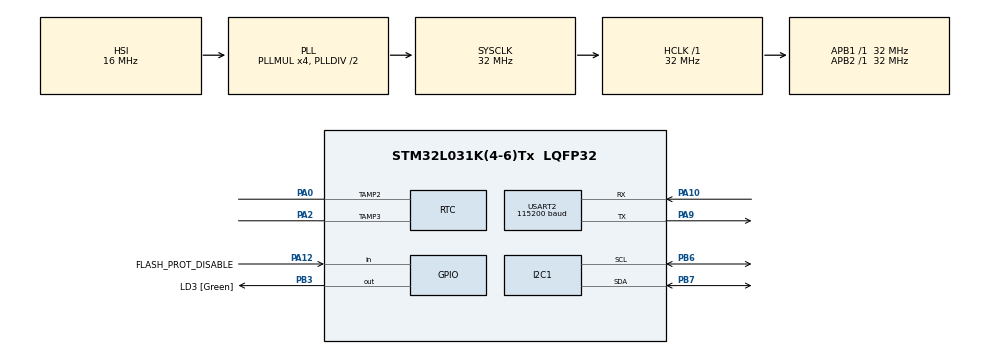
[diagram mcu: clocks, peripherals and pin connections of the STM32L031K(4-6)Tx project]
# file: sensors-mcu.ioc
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I2C1.Timing=0x00707CBB
Mcu.Family=STM32L0
Mcu.Name=STM32L031K(4-6)Tx
Mcu.Package=LQFP32
NVIC.RTC_IRQn=true\:3\:0\:true\:false\:true\:true\:true\:true
PA0-CK_IN.Mode=Tamper 2 enabled
PA0-CK_IN.Signal=RTC_TAMP2
PA10.Mode=Asynchronous
PA10.Signal=USART2_RX
PA12.GPIO_Label=FLASH_PROT_DISABLE
PA12.GPIO_PuPd=GPIO_PULLUP
PA12.Signal=GPIO_Input
PA2.Mode=Tamper 3 enabled
PA2.Signal=RTC_TAMP3
PA9.Mode=Asynchronous
PA9.Signal=USART2_TX
PB3.GPIO_Label=LD3 [Green]
PB3.Signal=GPIO_Output
PB6.Mode=I2C
PB6.Signal=I2C1_SCL
PB7.Mode=I2C
PB7.Signal=I2C1_SDA
ProjectManager.HeapSize=0x200
ProjectManager.StackSize=0x400
ProjectManager.TargetToolchain=CMake
RCC.AHBFreq_Value=32000000
RCC.APB1Freq_Value=32000000
RCC.APB1TimFreq_Value=32000000
RCC.APB2Freq_Value=32000000
RCC.APB2TimFreq_Value=32000000
RCC.HCLKFreq_Value=32000000
RCC.HSE_VALUE=8000000
RCC.HSI16_VALUE=16000000
RCC.HSI48_VALUE=48000000
RCC.HSI_VALUE=16000000
RCC.LSE_VALUE=32768
RCC.MSI_VALUE=2097000
RCC.PLLMUL=RCC_PLLMUL_4
RCC.SYSCLKFreq_VALUE=32000000
RCC.SYSCLKSource=RCC_SYSCLKSOURCE_PLLCLK
RCC.VCOOutputFreq_Value=64000000
RTC.Filter=RTC_TAMPERFILTER_DISABLE
RTC.PrechargeDuration=RTC_TAMPERPRECHARGEDURATION_1RTCCLK
RTC.SamplingFrequency=RTC_TAMPERSAMPLINGFREQ_RTCCLK_DIV2048
RTC.TamperPullUp=RTC_TAMPER_PULLUP_ENABLE
RTC.Trigger_3=RTC_TAMPERTRIGGER_FALLINGEDGE
USART2.AutoBaudRateEnableParam=UART_ADVFEATURE_AUTOBAUDRATE_DISABLE
USART2.BaudRate=115200
USART2.VirtualMode-Asynchronous=VM_ASYNC
VP_RTC_VS_RTC_Activate.Mode=RTC_Enabled
VP_RTC_VS_RTC_WakeUp_intern.Mode=WakeUp
board=NUCLEO-L031K6

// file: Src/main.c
/* USER CODE BEGIN Header */
/**
 ******************************************************************************
 * @file           : main.c
 * @brief          : Main program body
 ******************************************************************************
 * @attention
 *
 * Copyright (c) 2024 STMicroelectronics.
 * All rights reserved.
 *
 * This software is licensed under terms that can be found in the LICENSE file
 * in the root directory of this software component.
 * If no LICENSE file comes with this software, it is provided AS-IS.
 *
 ******************************************************************************
 */
/* USER CODE END Header */
#include "main.h"
#include "gpio.h"
#include "i2c.h"
#include "rtc.h"
#include "usart.h"

/* USER CODE BEGIN Includes */
#include "factory_data.h"
#include "flash.h"
#include "proto.h"
#include "proto_payload.h"
#include "sensors/lis2dh.h"
#include "sensors/sht4x.h"
#include <stdio.h>
#include <string.h>
/* USER CODE END Includes */

/* USER CODE BEGIN PV */
#ifdef WRITE_PROTECTION_ENABLE
bool FlashProtectionEnabled = true;
#else
bool FlashProtectionEnabled = false;
#endif

FactoryData eepromData;
SensorPayload sensorPayload;
/* USER CODE END PV */

void SystemClock_Config(void);

int main(void) {

    /* MCU Configuration--------------------------------------------------------*/

    /* Reset of all peripherals, Initializes the Flash interface and the Systick. */
    HAL_Init();

    /* Configure the system clock */
    SystemClock_Config();

    /* Initialize all configured peripherals */
    MX_GPIO_Init();
    MX_I2C1_Init();
    MX_USART2_UART_Init();
    MX_RTC_Init();
    /* USER CODE BEGIN 2 */
    // If D2/PA_12 is NOT shorted to GND, disable flash protection
    if (HAL_GPIO_ReadPin(FLASH_PROT_DISABLE_GPIO_Port, FLASH_PROT_DISABLE_Pin) == GPIO_PIN_RESET) {
        FlashProtectionEnabled = false;
    }

    if (FlashProtectionEnabled) {
        uint32_t page128 = FLASH_BASE + FLASH_PAGE_SIZE * 128;
        ERR_CHECK(Flash_EnableProtection(OB_WRP_AllPages));
        ERR_CHECK(Flash_WriteTest(page128));
    } else {
        ERR_CHECK(Flash_DisableProtection(OB_WRP_AllPages));
    }

    // Read the EEPROM
    ERR_CHECK(FactoryData_Load(&eepromData));
    while (eepromData.tamper2 == 1) {
        HAL_GPIO_WritePin(LD3_GPIO_Port, LD3_Pin, GPIO_PIN_SET);
        HAL_Delay(100);
        HAL_GPIO_WritePin(LD3_GPIO_Port, LD3_Pin, GPIO_PIN_RESET);
        HAL_Delay(900);
    }
    while (eepromData.tamper3 == 1) {
        HAL_GPIO_WritePin(LD3_GPIO_Port, LD3_Pin, GPIO_PIN_SET);
        HAL_Delay(50);
        HAL_GPIO_WritePin(LD3_GPIO_Port, LD3_Pin, GPIO_PIN_RESET);
        HAL_Delay(50);
        HAL_GPIO_WritePin(LD3_GPIO_Port, LD3_Pin, GPIO_PIN_SET);
        HAL_Delay(50);
        HAL_GPIO_WritePin(LD3_GPIO_Port, LD3_Pin, GPIO_PIN_RESET);
        HAL_Delay(900);
    }
    FactoryData_Unload(&eepromData);

    // Init the temp/humid sensor
    sensirion_i2c_init();
    while (sht4x_probe() != 0) {
    }

    // Init the accelerometer
    stmdev_ctx_t stmdevCtx;
    lis2dh_init(&stmdevCtx);
    while (lis2dh_probe(&stmdevCtx) != 0) {
    }

    /* USER CODE END 2 */

    /* Infinite loop */
    /* USER CODE BEGIN WHILE */
    int16_t data_raw_acceleration[3];
    lis2dh12_reg_t reg;

    ERR_CHECK_CUSTOM(ProtoPing(&protoCtx), PROTO_SUCCESS);
    while (1) {
        ERR_CHECK_CUSTOM(ProtoProcessMessage(&protoCtx), PROTO_SUCCESS);

        // Check for tampering
        if (RTC_CheckTamper2()) {
            ERR_CHECK(FactoryData_Load(&eepromData));
            eepromData.tamper2 = 1;
            ERR_CHECK(FactoryData_EraseSecrets(&eepromData));
            FactoryData_Unload(&eepromData);
            HAL_NVIC_SystemReset();
        }
        if (RTC_CheckTamper3()) {
            ERR_CHECK(FactoryData_Load(&eepromData));
            eepromData.tamper3 = 1;
            ERR_CHECK(FactoryData_EraseSecrets(&eepromData));
            FactoryData_Unload(&eepromData);
            HAL_NVIC_SystemReset();
        }

        // Read output only if new value available
        ERR_CHECK_CUSTOM(lis2dh12_xl_data_ready_get(&stmdevCtx, &reg.byte), 0);
        if (reg.byte) {
            // Read accelerometer data
            memset(data_raw_acceleration, 0, 3 * sizeof(int16_t));
            lis2dh12_acceleration_raw_get(&stmdevCtx, data_raw_acceleration);
            sensorPayload.data.acceleration_mg[0] = lis2dh12_from_fs2_hr_to_mg(data_raw_acceleration[0]);
            sensorPayload.data.acceleration_mg[1] = lis2dh12_from_fs2_hr_to_mg(data_raw_acceleration[1]);
            sensorPayload.data.acceleration_mg[2] = lis2dh12_from_fs2_hr_to_mg(data_raw_acceleration[2]);
        }

        // Measure temperature and relative humidity and store into variables temperature, humidity (each output
        // multiplied by 1000)
        ERR_CHECK_CUSTOM(sht4x_measure_blocking_read(&sensorPayload.data.temperature, &sensorPayload.data.humidity),
                         STATUS_OK);

        ERR_CHECK(FactoryData_Load(&eepromData));
        PayloadHash(&sensorPayload, eepromData.key, HMAC_KEY_LENGTH);
        FactoryData_Unload(&eepromData);
        ERR_CHECK_CUSTOM(
            ProtoSend(&protoCtx, PROTO_MSG_TYPE_RESPONSE, sizeof(SensorPayload), (uint8_t *)&sensorPayload),
            PROTO_SUCCESS);

        HAL_Delay(500);
        /* USER CODE END WHILE */

    }
}

void SystemClock_Config(void) {
    RCC_OscInitTypeDef RCC_OscInitStruct = {0};
    RCC_ClkInitTypeDef RCC_ClkInitStruct = {0};
    RCC_PeriphCLKInitTypeDef PeriphClkInit = {0};

    /** Configure the main internal regulator output voltage
     */
    __HAL_PWR_VOLTAGESCALING_CONFIG(PWR_REGULATOR_VOLTAGE_SCALE1);

    /** Initializes the RCC Oscillators according to the specified parameters
     * in the RCC_OscInitTypeDef structure.
     */
    RCC_OscInitStruct.OscillatorType = RCC_OSCILLATORTYPE_HSI | RCC_OSCILLATORTYPE_LSI;
    RCC_OscInitStruct.HSIState = RCC_HSI_ON;
    RCC_OscInitStruct.HSICalibrationValue = RCC_HSICALIBRATION_DEFAULT;
    RCC_OscInitStruct.LSIState = RCC_LSI_ON;
    RCC_OscInitStruct.PLL.PLLState = RCC_PLL_ON;
    RCC_OscInitStruct.PLL.PLLSource = RCC_PLLSOURCE_HSI;
    RCC_OscInitStruct.PLL.PLLMUL = RCC_PLLMUL_4;
    RCC_OscInitStruct.PLL.PLLDIV = RCC_PLLDIV_2;
    if (HAL_RCC_OscConfig(&RCC_OscInitStruct) != HAL_OK) {
        Error_Handler();
    }

    /** Initializes the CPU, AHB and APB buses clocks
     */
    RCC_ClkInitStruct.ClockType = RCC_CLOCKTYPE_HCLK | RCC_CLOCKTYPE_SYSCLK | RCC_CLOCKTYPE_PCLK1 | RCC_CLOCKTYPE_PCLK2;
    RCC_ClkInitStruct.SYSCLKSource = RCC_SYSCLKSOURCE_PLLCLK;
    RCC_ClkInitStruct.AHBCLKDivider = RCC_SYSCLK_DIV1;
    RCC_ClkInitStruct.APB1CLKDivider = RCC_HCLK_DIV1;
    RCC_ClkInitStruct.APB2CLKDivider = RCC_HCLK_DIV1;

    if (HAL_RCC_ClockConfig(&RCC_ClkInitStruct, FLASH_LATENCY_1) != HAL_OK) {
        Error_Handler();
    }
    PeriphClkInit.PeriphClockSelection = RCC_PERIPHCLK_USART2 | RCC_PERIPHCLK_I2C1 | RCC_PERIPHCLK_RTC;
    PeriphClkInit.Usart2ClockSelection = RCC_USART2CLKSOURCE_PCLK1;
    PeriphClkInit.I2c1ClockSelection = RCC_I2C1CLKSOURCE_PCLK1;
    PeriphClkInit.RTCClockSelection = RCC_RTCCLKSOURCE_LSI;
    if (HAL_RCCEx_PeriphCLKConfig(&PeriphClkInit) != HAL_OK) {
        Error_Handler();
    }
}

void Error_Handler(void) {
    /* USER CODE BEGIN Error_Handler_Debug */
    /* User can add his own implementation to report the HAL error return state
     */
    __disable_irq();
    while (1) {
        HAL_GPIO_TogglePin(LD3_GPIO_Port, LD3_Pin);
        HAL_Delay(100);
    }
    /* USER CODE END Error_Handler_Debug */
}

#ifdef USE_FULL_ASSERT
/**
 * @brief  Reports the name of the source file and the source line number
 *         where the assert_param error has occurred.
 * @param  file: pointer to the source file name
 * @param  line: assert_param error line source number
 * @retval None
 */
void assert_failed(uint8_t *file, uint32_t line) {
    /* USER CODE BEGIN 6 */
    /* User can add his own implementation to report the file name and line
       number, ex: printf("Wrong parameters value: file %s on line %d\r\n",
       file, line) */
    /* USER CODE END 6 */
}
#endif /* USE_FULL_ASSERT */
